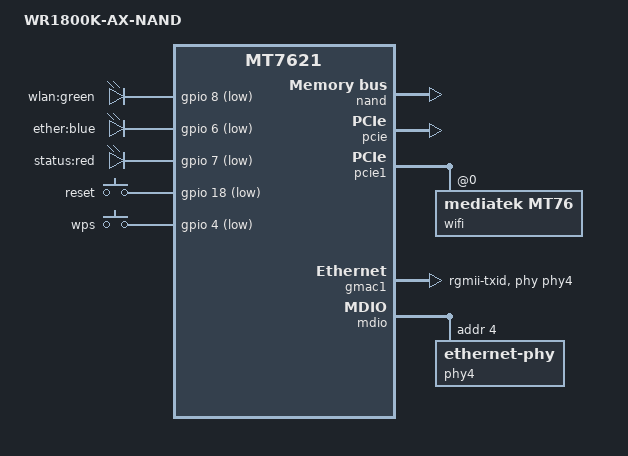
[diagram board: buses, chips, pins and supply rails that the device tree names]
/dts-v1/;

#include "mt7621.dtsi"

#include <dt-bindings/gpio/gpio.h>
#include <dt-bindings/input/input.h>

/ {
	compatible = "xwrt,wr1800k-ax-nand", "mediatek,mt7621-soc";
	model = "WR1800K-AX-NAND";

	aliases {
		led-boot = &led_status;
		led-failsafe = &led_status;
		led-running = &led_status;
		led-upgrade = &led_status;
		label-mac-device = &gmac0;
	};

	chosen {
		bootargs = "console=ttyS0,115200";
	};

	leds {
		compatible = "gpio-leds";

		wlan {
			label = "wlan:green";
			gpios = <&gpio 8 GPIO_ACTIVE_LOW>;
			default-state = "off";
		};

		led_ether: ether {
			label = "ether:blue";
			gpios = <&gpio 6 GPIO_ACTIVE_LOW>;
			default-state = "off";
		};

		led_status: status {
			label = "status:red";
			gpios = <&gpio 7 GPIO_ACTIVE_LOW>;
			default-state = "off";
		};
	};

	keys {
		compatible = "gpio-keys";

		reset {
			label = "reset";
			gpios = <&gpio 18 GPIO_ACTIVE_LOW>;
			linux,code = <KEY_RESTART>;
		};

		wps {
			label = "wps";
			gpios = <&gpio 4 GPIO_ACTIVE_LOW>;
			linux,code = <KEY_WPS_BUTTON>;
		};
	};
};

&nand {
	status = "okay";

	partitions {
		compatible = "fixed-partitions";
		#address-cells = <1>;
		#size-cells = <1>;

		partition@0 {
			label = "Bootloader";
			reg = <0x0 0x80000>;
		};

		partition@80000 {
			label = "Config";
			reg = <0x80000 0x80000>;
		};

		factory: partition@100000 {
			label = "factory";
			reg = <0x100000 0x80000>;
			read-only;
		};

		partition@180000 {
			label = "kernel";
			reg = <0x180000 0x400000>;
		};

		partition@580000 {
			label = "ubi";
			reg = <0x580000 0x7180000>;
		};
	};
};

&pcie {
	status = "okay";
};

&pcie1 {
	wifi@0,0 {
		compatible = "mediatek,mt76";
		reg = <0x0000 0 0 0 0>;
		mediatek,mtd-eeprom = <&factory 0x0000>;
		mtd-mac-address = <&factory 0x4>;
		nvmem-cells = <&macaddr_factory_4>;
		nvmem-cell-names = "mac-address";
		mediatek,disable-radar-background;
	};
};

&ethernet {
	pinctrl-names = "default";
	pinctrl-0 = <&rgmii1_pins &rgmii2_pins &mdio_pins>;
};

&gmac0 {
	nvmem-cells = <&macaddr_factory_4>;
	nvmem-cell-names = "mac-address";
	mtd-mac-address = <&factory 0x4>;
	mac-address-increment = <(-2)>;
};

&gmac1 {
	status = "okay";
	label = "wan";
	nvmem-cells = <&macaddr_factory_4>;
	nvmem-cell-names = "mac-address";
	mtd-mac-address = <&factory 0x4>;
	mac-address-increment = <(-1)>;
	phy-mode = "rgmii-txid";
	phy-handle = <&phy4>;
};

&mdio {
	phy4: ethernet-phy@4 {
		reg = <4>;
	};
};

&switch0 {
	ports {
		port@1 {
			status = "okay";
			label = "lan1";
		};

		port@2 {
			status = "okay";
			label = "lan2";
		};

		port@3 {
			status = "okay";
			label = "lan3";
		};
	};
};

&state_default {
	gpio {
		groups = "i2c", "uart2", "uart3";
		function = "gpio";
	};
};

&factory {
	compatible = "nvmem-cells";
	#address-cells = <1>;
	#size-cells = <1>;

	macaddr_factory_4: macaddr@4 {
		reg = <0x4 0x6>;
	};
};
